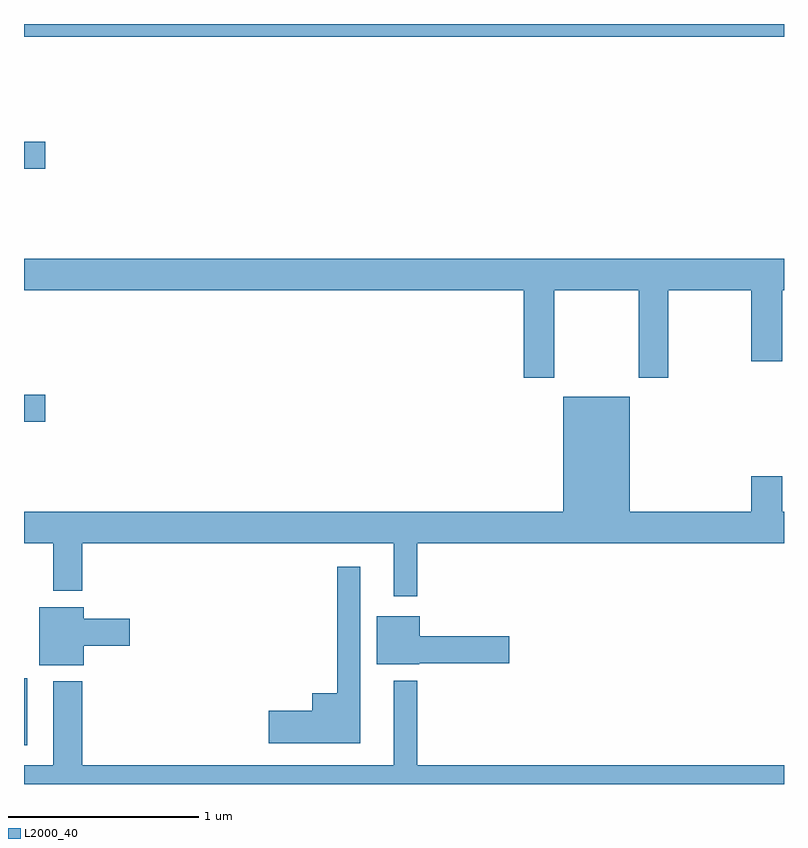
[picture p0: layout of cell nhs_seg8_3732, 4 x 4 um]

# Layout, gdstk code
import gdstk
lib = gdstk.Library(unit=1e-6, precision=1e-09)
def R(c, l, rs):  # rectangles x0, y0, x1, y1
    for r in rs: c.add(gdstk.rectangle(r[:2], r[2:], *l))
def P(c, l, *ps):  # polygons
    for p in ps: c.add(gdstk.Polygon(p, *l))
L2000_40 = (2000, 40)

nhs_seg8_3732 = lib.new_cell('nhs_seg8_3732')
R(nhs_seg8_3732, L2000_40, [(341,1114.104,341.017,1114.456), (341,1115.806,341.113,1115.948), (341,1117.138,341.113,1117.28), (341,1117.832,345,1117.9)])
P(nhs_seg8_3732, L2000_40, [(343.791,1116.5),(344.236,1116.5),(344.236,1116.039),(344.391,1116.039),(344.391,1116.5),(344.828,1116.5),(344.828,1116.126),(344.992,1116.126),(344.992,1116.5),(345,1116.5),(345,1116.664),(341,1116.664),(341,1116.5),(343.631,1116.5),(343.631,1116.039),(343.791,1116.039)],
  [(343.069,1115.168),(345,1115.168),(345,1115.332),(344.992,1115.332),(344.992,1115.521),(344.828,1115.521),(344.828,1115.332),(344.188,1115.332),(344.188,1115.938),(343.838,1115.938),(343.838,1115.332),(341,1115.332),(341,1115.168),(341.153,1115.168),(341.153,1114.916),(341.306,1114.916),(341.306,1115.168),(342.947,1115.168),(342.947,1114.887),(343.069,1114.887)],
  [(342.769,1115.044),(342.648,1115.044),(342.648,1114.378),(342.518,1114.378),(342.518,1114.286),(342.288,1114.286),(342.288,1114.115),(342.769,1114.115)],
  [(341.314,1114.628),(341.557,1114.628),(341.557,1114.77),(341.314,1114.77),(341.314,1114.831),(341.081,1114.831),(341.081,1114.526),(341.314,1114.526)],
  [(343.08,1114.535),(343.555,1114.535),(343.555,1114.677),(343.084,1114.677),(343.084,1114.783),(342.857,1114.783),(342.857,1114.529),(343.08,1114.529)],
  [(345,1114),(343.069,1114),(343.069,1114.444),(342.947,1114.444),(342.947,1114),(341.306,1114),(341.306,1114.441),(341.153,1114.441),(341.153,1114),(341,1114),(341,1113.9),(345,1113.9)])

lib.write_gds('nhs_seg8_3732.gds')
